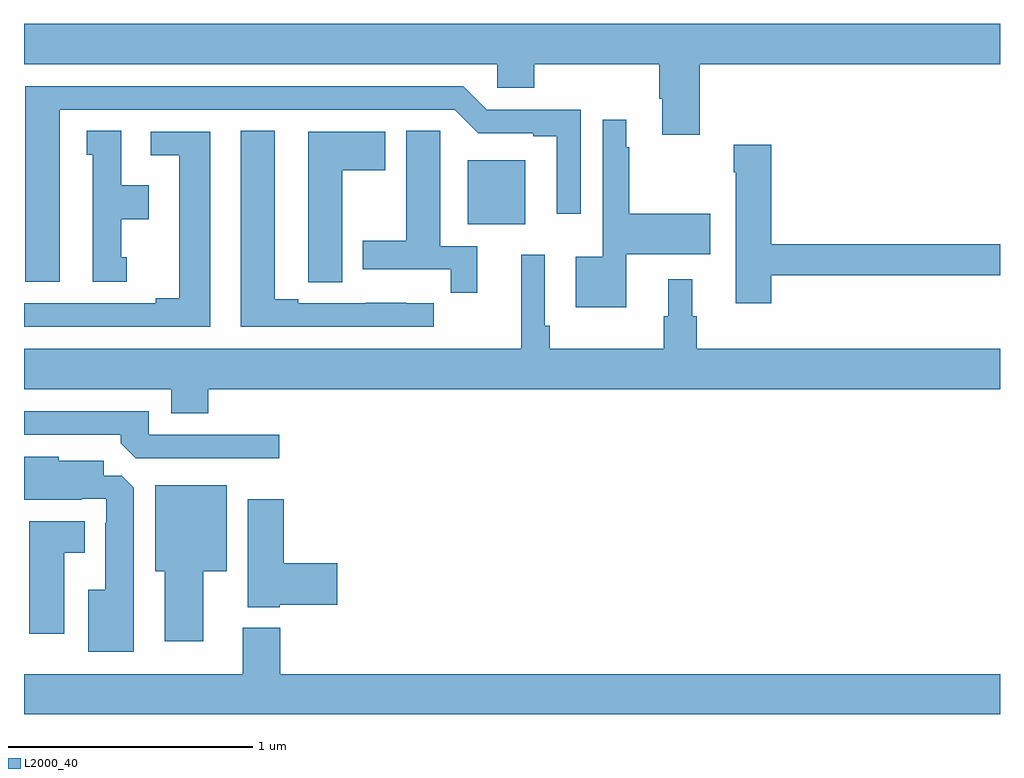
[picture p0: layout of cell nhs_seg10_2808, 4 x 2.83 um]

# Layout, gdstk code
import gdstk
lib = gdstk.Library(unit=1e-6, precision=1e-09)
def R(c, l, rs):  # rectangles x0, y0, x1, y1
    for r in rs: c.add(gdstk.rectangle(r[:2], r[2:], *l))
def P(c, l, *ps):  # polygons
    for p in ps: c.add(gdstk.Polygon(p, *l))
L2000_40 = (2000, 40)

nhs_seg10_2808 = lib.new_cell('nhs_seg10_2808')
R(nhs_seg10_2808, L2000_40, [(264.818,1289.003,265.054,1289.266)])
P(nhs_seg10_2808, L2000_40, [(265.769,1289.66),(267,1289.66),(267,1289.824),(263,1289.824),(263,1289.66),(264.939,1289.66),(264.939,1289.562),(265.091,1289.562),(265.091,1289.66),(265.604,1289.66),(265.604,1289.518),(265.616,1289.518),(265.616,1289.37),(265.769,1289.37)],
  [(263.146,1289.472),(264.765,1289.472),(264.861,1289.376),(265.088,1289.376),(265.088,1289.364),(265.184,1289.364),(265.184,1289.046),(265.281,1289.046),(265.281,1289.472),(264.897,1289.472),(264.801,1289.568),(263.006,1289.568),(263.006,1288.767),(263.146,1288.767)],
  [(265.468,1288.88),(265.813,1288.88),(265.813,1289.046),(265.48,1289.046),(265.48,1289.318),(265.468,1289.318),(265.468,1289.431),(265.371,1289.431),(265.371,1288.87),(265.262,1288.87),(265.262,1288.664),(265.468,1288.664)],
  [(263.422,1288.869),(263.398,1288.869),(263.398,1289.024),(263.512,1289.024),(263.512,1289.164),(263.398,1289.164),(263.398,1289.387),(263.258,1289.387),(263.258,1289.289),(263.282,1289.289),(263.282,1288.767),(263.422,1288.767)],
  [(264.857,1288.914),(264.706,1288.914),(264.706,1289.276),(264.705,1289.276),(264.705,1289.387),(264.566,1289.387),(264.566,1288.935),(264.389,1288.935),(264.389,1288.818),(264.748,1288.818),(264.748,1288.722),(264.857,1288.722)],
  [(264.679,1288.68),(264.566,1288.68),(264.566,1288.681),(264.4,1288.681),(264.4,1288.68),(264.124,1288.68),(264.124,1288.695),(264.028,1288.695),(264.028,1289.387),(263.888,1289.387),(263.888,1288.584),(264.679,1288.584)],
  [(264.304,1289.224),(264.481,1289.224),(264.481,1289.383),(264.164,1289.383),(264.164,1288.873),(264.165,1288.873),(264.165,1288.765),(264.304,1288.765)],
  [(263.764,1289.382),(263.52,1289.382),(263.52,1289.286),(263.636,1289.286),(263.636,1288.7),(263.54,1288.7),(263.54,1288.68),(263,1288.68),(263,1288.584),(263.764,1288.584)],
  [(266.063,1288.794),(267,1288.794),(267,1288.922),(266.063,1288.922),(266.063,1289.329),(265.909,1289.329),(265.909,1289.216),(265.916,1289.216),(265.916,1288.68),(266.063,1288.68)],
  [(263.756,1288.328),(267,1288.328),(267,1288.492),(265.757,1288.492),(265.757,1288.626),(265.738,1288.626),(265.738,1288.777),(265.64,1288.777),(265.64,1288.626),(265.621,1288.626),(265.621,1288.492),(265.154,1288.492),(265.154,1288.588),(265.134,1288.588),(265.134,1288.879),(265.037,1288.879),(265.037,1288.492),(263,1288.492),(263,1288.328),(263.603,1288.328),(263.603,1288.229),(263.756,1288.229)],
  [(264.046,1288.14),(263.511,1288.14),(263.511,1288.236),(263,1288.236),(263,1288.14),(263.396,1288.14),(263.396,1288.106),(263.457,1288.044),(264.046,1288.044)],
  [(263.449,1287.923),(263.4,1287.972),(263.326,1287.972),(263.326,1288.033),(263.142,1288.033),(263.142,1288.051),(263,1288.051),(263,1287.875),(263.237,1287.875),(263.237,1287.879),(263.337,1287.879),(263.337,1287.779),(263.333,1287.779),(263.333,1287.505),(263.264,1287.505),(263.264,1287.251),(263.449,1287.251)],
  [(263.734,1287.581),(263.83,1287.581),(263.83,1287.934),(263.537,1287.934),(263.537,1287.581),(263.576,1287.581),(263.576,1287.294),(263.734,1287.294)],
  [(264.048,1287.443),(264.283,1287.443),(264.283,1287.614),(264.065,1287.614),(264.065,1287.877),(263.918,1287.877),(263.918,1287.434),(264.048,1287.434)],
  [(263.164,1287.656),(263.248,1287.656),(263.248,1287.787),(263.021,1287.787),(263.021,1287.324),(263.164,1287.324)],
  [(267,1287.16),(264.05,1287.16),(264.05,1287.349),(263.897,1287.349),(263.897,1287.16),(263,1287.16),(263,1286.996),(267,1286.996)])

lib.write_gds('nhs_seg10_2808.gds')
